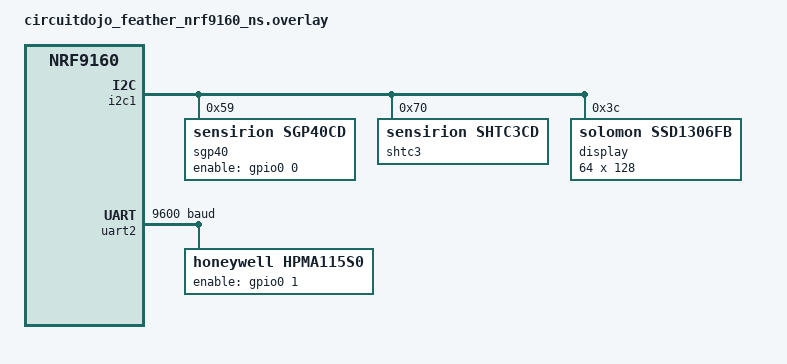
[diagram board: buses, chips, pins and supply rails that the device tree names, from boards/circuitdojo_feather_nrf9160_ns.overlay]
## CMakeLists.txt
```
#
# Copyright (c) 2021 Circuit Dojo LLC
#

cmake_minimum_required(VERSION 3.13.4)

# Determine the build type
if (NOT BUILD_TYPE)
  set(BUILD_TYPE debug)
endif()

# Print out build type
message(STATUS "Build type: ${BUILD_TYPE} 🚀")

find_package(Zephyr REQUIRED HINTS $ENV{ZEPHYR_BASE})

project(air-quality-wing-demo)

target_sources(app PRIVATE src/main.c)
```

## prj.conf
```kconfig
# Heap and stacks
CONFIG_INIT_STACKS=y
CONFIG_MAIN_STACK_SIZE=2048
CONFIG_HEAP_MEM_POOL_SIZE=4092

# GPIO
CONFIG_GPIO=y

# Logging
CONFIG_LOG=y
CONFIG_CONSOLE=y

# Sensors
CONFIG_I2C=y
CONFIG_SENSOR=y
CONFIG_SHTC3=y
CONFIG_SGP40_CD=y
CONFIG_SERIAL=y
CONFIG_UART_ASYNC_API=y
CONFIG_HPMA115S0=y

# AWQ Library
CONFIG_AQW=y

# Enable MCUboot bootloader
# CONFIG_BOOTLOADER_MCUBOOT=y

# Newlibc
CONFIG_NEWLIB_LIBC=y 

# Display
CONFIG_DISPLAY=y
# CONFIG_DISPLAY_LOG_LEVEL_DBG=y
CONFIG_SSD1306=y
CONFIG_SSD1306_SH1106_COMPATIBLE=y
CONFIG_SSD1306_REVERSE_MODE=y

CONFIG_LVGL=y
CONFIG_LV_MEM_CUSTOM=y
CONFIG_LV_USE_LABEL=y
CONFIG_LV_USE_CANVAS=y
CONFIG_LV_USE_LOG=y
# CONFIG_LV_LOG_LEVEL_INFO=y

CONFIG_LV_DPI_DEF=148
CONFIG_LV_Z_BITS_PER_PIXEL=1
CONFIG_LV_COLOR_DEPTH_1=y
CONFIG_LV_FONT_DEFAULT_MONTSERRAT_12=y

CONFIG_LV_Z_MEM_POOL_NUMBER_BLOCKS=8

# CONFIG_SENSOR_LOG_LEVEL_DBG=y
# CONFIG_AQW_LOG_LEVEL_DBG=y
```

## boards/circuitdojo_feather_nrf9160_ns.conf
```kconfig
# Logging
CONFIG_UART_CONSOLE=y
CONFIG_LOG_MODE_IMMEDIATE=y
CONFIG_LOG_BACKEND_UART=y

# Enable MCUboot bootloader
CONFIG_BOOTLOADER_MCUBOOT=y
```

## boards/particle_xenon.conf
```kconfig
# Increase stack size
CONFIG_MAIN_STACK_SIZE=4092

# UART for HPMA
CONFIG_UART_ASYNC_API=y
CONFIG_UART_0_INTERRUPT_DRIVEN=n
CONFIG_UART_0_ASYNC=y
CONFIG_UART_0_NRF_HW_ASYNC=y
CONFIG_UART_0_NRF_HW_ASYNC_TIMER=1

# USB
# CONFIG_USB_DEVICE_STACK=y
# CONFIG_USB_DEVICE_INITIALIZE_AT_BOOT=y
# CONFIG_USB_DEVICE_PRODUCT="Air Quality Wing"

# Segger RTT
CONFIG_USE_SEGGER_RTT=y
CONFIG_RTT_CONSOLE=y
CONFIG_UART_CONSOLE=n
CONFIG_LOG_BACKEND_RTT=y
CONFIG_LOG_BACKEND_UART=n
```

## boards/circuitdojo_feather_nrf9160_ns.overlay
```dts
/*
 * Copyright (c) 2021 Circuit Dojo LLC
 */

/ {
	chosen {
        zephyr,display = &display;
	};
};

&i2c1 {
    compatible = "nordic,nrf-twim";
    zephyr,concat-buf-size = <1024>;

    sgp40@59 {
        compatible = "sensirion,sgp40cd";
        reg = <0x59>;
        enable-gpios = <&gpio0 0 GPIO_ACTIVE_HIGH>;
    };

    shtc3@70 {
        compatible = "sensirion,shtc3cd";
        reg = <0x70>;
    };

    display: ssd1306@3c {
        compatible = "solomon,ssd1306fb";
        reg = <0x3c>;
        width = <64>;
        height = <128>;
        segment-offset = <0>;
        page-offset = <0>;
        display-offset = <31>;
        multiplex-ratio = <63>;
        segment-remap;
        com-invdir;
        com-sequential;
        prechargep = <0x22>;
    };    
};

&uart2 {
    compatible = "nordic,nrf-uarte";
    current-speed = <9600>;
    status = "okay";

    hpma115s0 {
        compatible = "honeywell,hpma115s0";
        enable-gpios = <&gpio0 1 GPIO_ACTIVE_HIGH>;
    };
};
```

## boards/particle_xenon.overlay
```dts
/*
 * Copyright (c) 2021 Circuit Dojo LLC
 */

/ {
	chosen {
		zephyr,console = &cdc_acm_uart0;
		zephyr,shell-uart = &cdc_acm_uart0;
		zephyr,uart-mcumgr = &cdc_acm_uart0;
        zephyr,display = &display;
	};
};

&zephyr_udc0 {
	cdc_acm_uart0: cdc_acm_uart0 {
		compatible = "zephyr,cdc-acm-uart";
	};
};

&i2c0 {
    compatible = "nordic,nrf-twim";
    zephyr,concat-buf-size = <1024>;
    status = "okay";
    clock-frequency = <I2C_BITRATE_STANDARD>;

    sgp40@59 {
        compatible = "sensirion,sgp40cd";
        reg = <0x59>;
        enable-gpios = <&gpio1 8 GPIO_ACTIVE_HIGH>;
    };

    shtc3@70 {
        compatible = "sensirion,shtc3cd";
        reg = <0x70>;
    };
    
    display: ssd1306@3c {
        compatible = "solomon,ssd1306fb";
        reg = <0x3c>;
        width = <64>;
        height = <128>;
        segment-offset = <0>;
        page-offset = <0>;
        display-offset = <31>;
        multiplex-ratio = <63>;
        segment-remap;
        com-invdir;
        com-sequential;
        prechargep = <0x22>;
    };    
};

&uart0 {
    compatible = "nordic,nrf-uarte";
    current-speed = <9600>;

    hpma115s0 {
        compatible = "honeywell,hpma115s0";
        enable-gpios = <&gpio1 10 GPIO_ACTIVE_HIGH>;
    };
};
```

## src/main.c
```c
/**
 * @author Jared Wolff (hello@jaredwolff.com)
 * @copyright Copyright Circuit Dojo LLC 2021
 */

#include <zephyr/kernel.h>
#include <zephyr/device.h>
#include <zephyr/drivers/sensor.h>
#include <zephyr/drivers/display.h>
#include <zephyr/devicetree.h>
#include <zephyr/logging/log.h>
LOG_MODULE_REGISTER(aqw_basic_with_display_demo);

#include <lvgl.h>
#include <aqw.h>

/* Inverval in seconds */
#define STANDARD_SENSOR_INTERVAL 60

static struct aqw_sensor temperature_sensor =
    {
        .type = AQW_TEMPERATURE_SENSOR,
        .chan = SENSOR_CHAN_AMBIENT_TEMP,
        .dev = DEVICE_DT_GET_ONE(sensirion_shtc3cd),
        .interval = STANDARD_SENSOR_INTERVAL,
};

static struct aqw_sensor humidity_sensor =
    {
        .type = AQW_HUMIDITY_SENSOR,
        .chan = SENSOR_CHAN_HUMIDITY,
        .dev = DEVICE_DT_GET_ONE(sensirion_shtc3cd),
        .interval = STANDARD_SENSOR_INTERVAL,
};

static struct aqw_sensor voc_sensor =
    {
        .type = AQW_VOC_SENSOR,
        .chan = SENSOR_CHAN_VOC,
        .dev = DEVICE_DT_GET_ONE(sensirion_sgp40cd),
        .interval = STANDARD_SENSOR_INTERVAL,
};

static struct aqw_sensor hpma_sensor =
    {
        .type = AQW_PM25_SENSOR,
        .chan = SENSOR_CHAN_PM_2_5,
        .dev = DEVICE_DT_GET_ONE(honeywell_hpma115s0),
        .interval = STANDARD_SENSOR_INTERVAL,
};

static struct aqw_sensor *sensors[] = {
    &temperature_sensor,
    &humidity_sensor,
    &voc_sensor,
    &hpma_sensor,
};

static lv_obj_t *temp_label, *temp_value_label;
static lv_obj_t *hum_label, *hum_value_label;
static lv_obj_t *pm25_label, *pm25_value_label;
static lv_obj_t *voc_label, *voc_value_label;

char temp_value[11] = {0};
char hum_value[11] = {0};
char pm25_value[11] = {0};
char voc_value[11] = {0};

static uint8_t get_two_digits(int32_t value)
{
    int32_t new_val = value;

    while (new_val > 100)
    {
        new_val /= 10;
    }

    return new_val;
}

static int display_update(struct aqw_sensor_data *data)
{

    switch (data->type)
    {
    case AQW_TEMPERATURE_SENSOR:

        snprintf(temp_value, sizeof(temp_value) - 1, "%d.%d", data->val.val1, get_two_digits(data->val.val2));
        lv_label_set_text(temp_value_label, temp_value);

        break;
    case AQW_HUMIDITY_SENSOR:

        snprintf(hum_value, sizeof(hum_value) - 1, "%d.%d%%", data->val.val1, get_two_digits(data->val.val2));
        lv_label_set_text(hum_value_label, hum_value);
        break;
    case AQW_PM25_SENSOR:

        snprintf(pm25_value, sizeof(pm25_value) - 1, "%d.%d", data->val.val1, get_two_digits(data->val.val2));
        lv_label_set_text(pm25_value_label, pm25_value);
        break;
    case AQW_VOC_SENSOR:

        snprintf(voc_value, sizeof(voc_value) - 1, "%d.%d", data->val.val1, get_two_digits(data->val.val2));
        lv_label_set_text(voc_value_label, voc_value);
        break;

    default:
        break;
    }

    return 0;
}

static int display_init(void)
{

    const struct device *display_dev = DEVICE_DT_GET(DT_CHOSEN(zephyr_display));
    if (!device_is_ready(display_dev))
    {
        LOG_ERR("Display not ready!");
        return -EIO;
    }

    temp_label = lv_label_create(lv_scr_act());
    lv_label_set_text(temp_label, "T: (C)");
    lv_obj_align(temp_label, LV_ALIGN_TOP_MID, 0, 0);

    temp_value_label = lv_label_create(lv_scr_act());
    lv_label_set_text(temp_value_label, "*");
    lv_obj_align(temp_value_label, LV_ALIGN_TOP_LEFT, 0, 14);

    hum_label = lv_label_create(lv_scr_act());
    lv_label_set_text(hum_label, "H: (%)");
    lv_obj_align(hum_label, LV_ALIGN_TOP_MID, 0, 32);

    hum_value_label = lv_label_create(lv_scr_act());
    lv_label_set_text(hum_value_label, "*");
    lv_obj_align(hum_value_label, LV_ALIGN_TOP_LEFT, 0, 46);

    voc_label = lv_label_create(lv_scr_act());
    lv_label_set_text(voc_label, "VOC:");
    lv_obj_align(voc_label, LV_ALIGN_TOP_MID, 0, 66);

    voc_value_label = lv_label_create(lv_scr_act());
    lv_label_set_text(voc_value_label, "*");
    lv_obj_align(voc_value_label, LV_ALIGN_TOP_LEFT, 0, 80);

    pm25_label = lv_label_create(lv_scr_act());
    lv_label_set_text(pm25_label, "PM25:");
    lv_obj_align(pm25_label, LV_ALIGN_TOP_MID, 0, 94);

    pm25_value_label = lv_label_create(lv_scr_act());
    lv_label_set_text(pm25_value_label, "*");
    lv_obj_align(pm25_value_label, LV_ALIGN_TOP_LEFT, 0, 108);

    lv_task_handler();

    return 0;
}

void sensor_cb(struct aqw_sensor_data *data, size_t len)
{

    for (int i = 0; i < len; i++)
    {

        /* Skip if not valid */
        if (data[i].type == AQW_INVALID_SENSOR)
            continue;

        LOG_INF("%s: %i.%i%s", aqw_sensor_type_to_string(data[i].type), data[i].val.val1, data[i].val.val2, aqw_sensor_unit_to_string(data[i].type));

        /* Update value in display */
        display_update(&data[i]);
    }

    lv_task_handler();
}

void main(void)
{
    int err = 0;

    LOG_INF("Air Quality Wing Demo");

    /* Get display */
    err = display_init();
    if (err)
        __ASSERT_MSG_INFO("Unable to init display library. Err: %i", err);

    /* Init Air Quality Wing */
    err = aqw_init(sensors, ARRAY_SIZE(sensors), sensor_cb);
    if (err)
        __ASSERT_MSG_INFO("Unable to init Air Quality Wing library. Err: %i", err);

    err = aqw_sensor_start_fetch();
    if (err)
        __ASSERT_MSG_INFO("Unable to start fetch. Err: %i", err);
}
```
